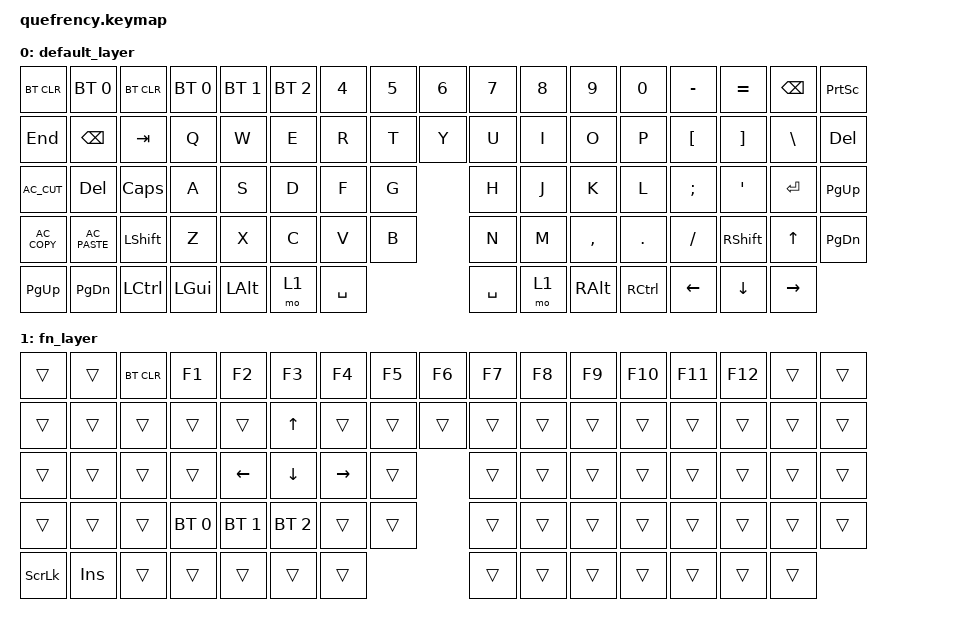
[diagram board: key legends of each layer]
/*
 * Copyright (c) 2020 The ZMK Contributors
 *
 * SPDX-License-Identifier: MIT
 */

#include <behaviors.dtsi>
#include <dt-bindings/zmk/bt.h>
#include <dt-bindings/zmk/keys.h>

/ {
    keymap {
        compatible = "zmk,keymap";
 
  
        default_layer {
            bindings = <
 &bt BT_CLR     &bt BT_SEL 0  &bt BT_CLR     &bt BT_SEL 0 &bt BT_SEL 1 &bt BT_SEL 2   &kp N4 &kp N5 &kp N6 /**/ &kp N7    &kp N8   &kp N9    &kp N0    &kp MINUS &kp EQUAL &kp BSPC &kp PRINTSCREEN
&kp END       &kp BSPC         &kp TAB   &kp Q    &kp W    &kp E     &kp R  &kp T         /**/ &kp Y     &kp U    &kp I     &kp O     &kp P     &kp LBKT  &kp RBKT &kp BSLH &kp DEL
&kp C_AC_CUT  &kp DEL     &kp CAPS &kp A    &kp S    &kp D     &kp F  &kp G         /**/ &kp H     &kp J    &kp K     &kp L     &kp SEMI  &kp SQT   &kp RET  &kp PG_UP
&kp C_AC_COPY &kp C_AC_PASTE   &kp LSHFT &kp Z    &kp X    &kp C     &kp V  &kp B         /**/ &kp N     &kp M    &kp COMMA &kp DOT   &kp FSLH  &kp RSHFT &kp UP   &kp PG_DN
&kp PG_UP     &kp PG_DN        &kp LCTRL &kp LGUI &kp LALT &mo 1 &kp SPACE                 /**/ &kp SPACE  &mo 1  &kp RALT     &kp RCTRL &kp LEFT  &kp DOWN  &kp RIGHT
            >;
        };


        fn_layer {
            bindings = <
 &trans   &trans     &bt BT_CLR &kp F1       &kp F2       &kp F3       &kp F4 &kp F5 &kp F6 /**/ &kp F7 &kp F8 &kp F9 &kp F10 &kp F11 &kp F12 &trans  &trans
 &trans   &trans     &trans     &trans       &trans       &kp UP       &trans &trans        /**/ &trans &trans &trans &trans  &trans  &trans  &trans &trans &trans
 &trans   &trans     &trans     &trans       &kp LEFT     &kp DOWN     &kp RIGHT &trans        /**/ &trans &trans &trans &trans  &trans  &trans  &trans &trans
 &trans   &trans     &trans    &bt BT_SEL 0 &bt BT_SEL 1 &bt BT_SEL 2  &trans &trans        /**/ &trans &trans &trans &trans  &trans  &trans  &trans &trans
 &kp SLCK &kp INS    &trans     &trans       &trans       &trans       &trans               /**/ &trans &trans &trans &trans  &trans  &trans  &trans
            >;
        };
    };
}; 
